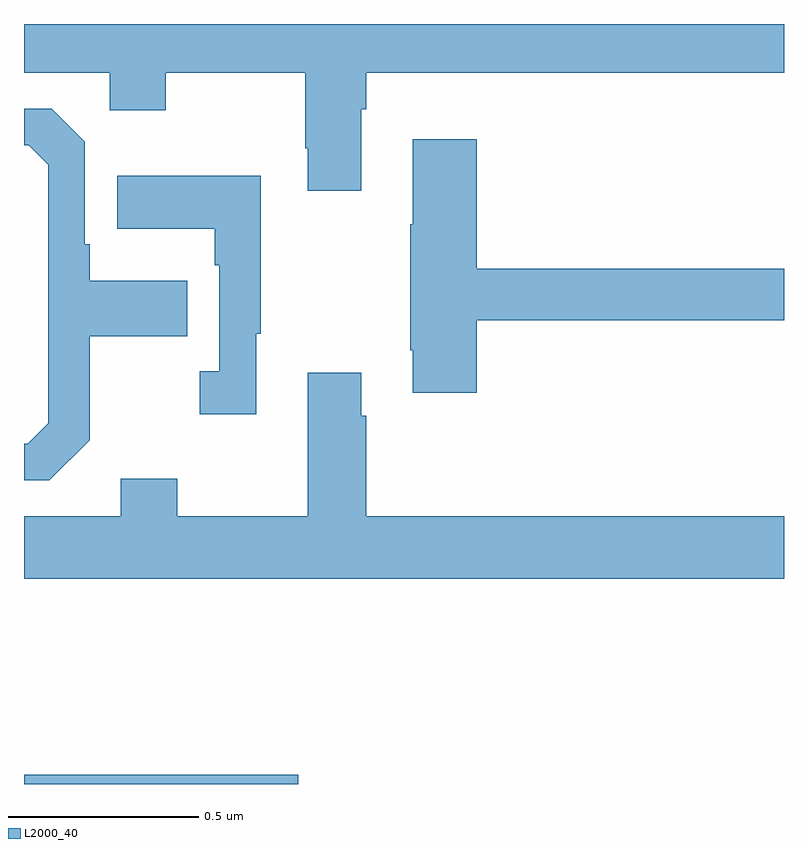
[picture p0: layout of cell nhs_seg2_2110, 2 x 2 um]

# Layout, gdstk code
import gdstk
lib = gdstk.Library(unit=1e-6, precision=1e-09)
def R(c, l, rs):  # rectangles x0, y0, x1, y1
    for r in rs: c.add(gdstk.rectangle(r[:2], r[2:], *l))
def P(c, l, *ps):  # polygons
    for p in ps: c.add(gdstk.Polygon(p, *l))
L2000_40 = (2000, 40)

nhs_seg2_2110 = lib.new_cell('nhs_seg2_2110')
R(nhs_seg2_2110, L2000_40, [(137,609.8,137.722,609.824)])
P(nhs_seg2_2110, L2000_40, [(137,611.672),(137.226,611.672),(137.226,611.573),(137.373,611.573),(137.373,611.672),(137.74,611.672),(137.74,611.473),(137.747,611.473),(137.747,611.361),(137.887,611.361),(137.887,611.576),(137.9,611.576),(137.9,611.672),(139,611.672),(139,611.8),(137,611.8)],
  [(137.173,610.705),(137.173,610.978),(137.429,610.978),(137.429,611.125),(137.173,611.125),(137.173,611.221),(137.16,611.221),(137.16,611.49),(137.073,611.577),(137,611.577),(137,611.481),(137.013,611.481),(137.064,611.43),(137.064,610.749),(137.01,610.695),(137,610.695),(137,610.599),(137.067,610.599)],
  [(138.191,611.02),(139,611.02),(139,611.156),(138.191,611.156),(138.191,611.497),(138.023,611.497),(138.023,611.273),(138.016,611.273),(138.016,610.942),(138.023,610.942),(138.023,610.83),(138.191,610.83)],
  [(137.611,610.985),(137.623,610.985),(137.623,611.401),(137.245,611.401),(137.245,611.261),(137.502,611.261),(137.502,611.165),(137.514,611.165),(137.514,610.886),(137.463,610.886),(137.463,610.773),(137.611,610.773)],
  [(139,610.504),(137.9,610.504),(137.9,610.769),(137.887,610.769),(137.887,610.882),(137.747,610.882),(137.747,610.504),(137.403,610.504),(137.403,610.603),(137.255,610.603),(137.255,610.504),(137,610.504),(137,610.34),(139,610.34)])

lib.write_gds('nhs_seg2_2110.gds')
